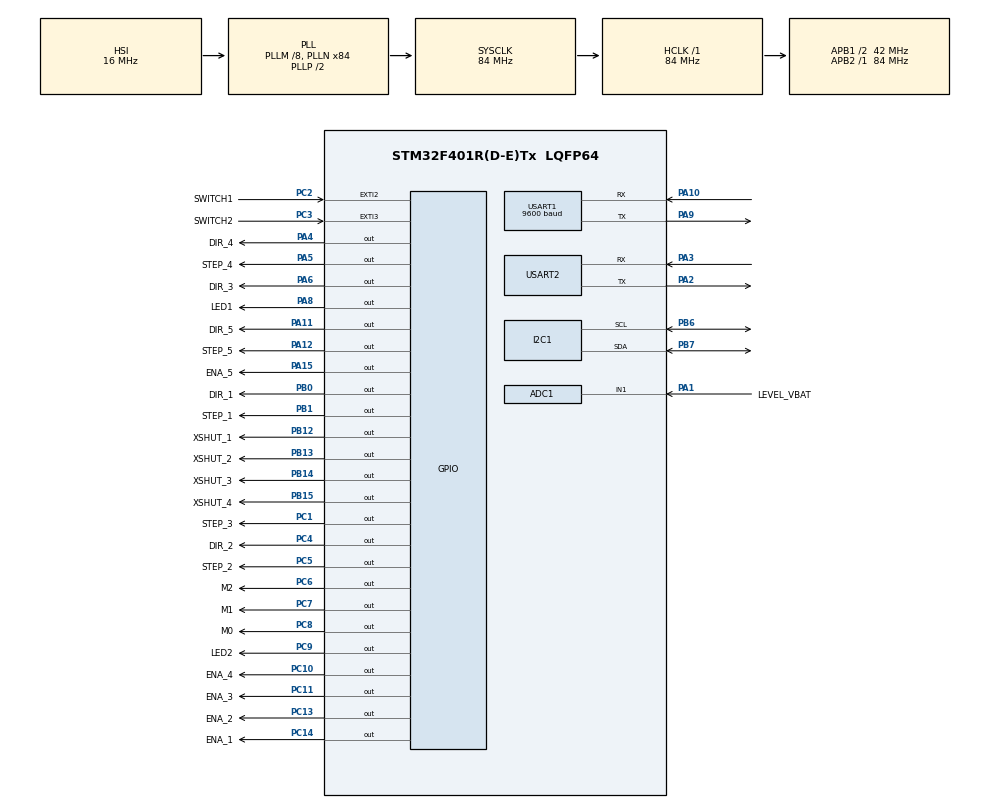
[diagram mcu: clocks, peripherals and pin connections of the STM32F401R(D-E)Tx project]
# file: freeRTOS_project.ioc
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ADC1.Channel-1\#ChannelRegularConversion=ADC_CHANNEL_1
ADC1.NbrOfConversionFlag=1
ADC1.Rank-1\#ChannelRegularConversion=1
ADC1.SamplingTime-1\#ChannelRegularConversion=ADC_SAMPLETIME_3CYCLES
ADC1.master=1
FREERTOS.Mutexes01=timerMutex,Dynamic,NULL
FREERTOS.Tasks01=MotorControl,1,128,MotorMotionControl,Default,NULL,Dynamic,NULL,NULL;TOFcontrol,-3,128,GetTOFDistance,Default,NULL,Dynamic,NULL,NULL;LifterControl,-3,128,LifterMotionControl,Default,NULL,Dynamic,NULL,NULL
FREERTOS.configUSE_NEWLIB_REENTRANT=1
FREERTOS.configUSE_TIMERS=1
Mcu.Family=STM32F4
Mcu.Name=STM32F401R(D-E)Tx
Mcu.Package=LQFP64
NVIC.EXTI2_IRQn=true\:5\:0\:false\:false\:true\:true\:true\:true\:true
NVIC.EXTI3_IRQn=true\:5\:0\:false\:false\:true\:true\:true\:true\:true
NVIC.PriorityGroup=NVIC_PRIORITYGROUP_4
NVIC.USART1_IRQn=true\:5\:0\:false\:false\:true\:true\:true\:true\:true
NVIC.USART2_IRQn=true\:5\:0\:false\:false\:true\:true\:true\:true\:true
PA1.GPIO_Label=LEVEL_VBAT
PA1.Signal=ADCx_IN1
PA10.Mode=Asynchronous
PA10.Signal=USART1_RX
PA11.GPIO_Label=DIR_5
PA11.Signal=GPIO_Output
PA12.GPIO_Label=STEP_5
PA12.Signal=GPIO_Output
PA13.Mode=Serial_Wire
PA13.Signal=SYS_JTMS-SWDIO
PA14.Mode=Serial_Wire
PA14.Signal=SYS_JTCK-SWCLK
PA15.GPIO_Label=ENA_5
PA15.PinState=GPIO_PIN_SET
PA15.Signal=GPIO_Output
PA2.Mode=Asynchronous
PA2.Signal=USART2_TX
PA3.Mode=Asynchronous
PA3.Signal=USART2_RX
PA4.GPIO_Label=DIR_4
PA4.Signal=GPIO_Output
PA5.GPIO_Label=STEP_4
PA5.Signal=GPIO_Output
PA6.GPIO_Label=DIR_3
PA6.Signal=GPIO_Output
PA8.GPIO_Label=LED1
PA8.PinState=GPIO_PIN_SET
PA8.Signal=GPIO_Output
PA9.Mode=Asynchronous
PA9.Signal=USART1_TX
PB0.GPIO_Label=DIR_1
PB0.Signal=GPIO_Output
PB1.GPIO_Label=STEP_1
PB1.Signal=GPIO_Output
PB12.GPIO_Label=XSHUT_1
PB12.GPIO_ModeDefaultOutputPP=GPIO_MODE_OUTPUT_PP
PB12.GPIO_PuPd=GPIO_NOPULL
PB12.PinState=GPIO_PIN_RESET
PB12.Signal=GPIO_Output
PB13.GPIO_Label=XSHUT_2
PB13.GPIO_ModeDefaultOutputPP=GPIO_MODE_OUTPUT_PP
PB13.GPIO_PuPd=GPIO_NOPULL
PB13.PinState=GPIO_PIN_RESET
PB13.Signal=GPIO_Output
PB14.GPIO_Label=XSHUT_3
PB14.GPIO_ModeDefaultOutputPP=GPIO_MODE_OUTPUT_PP
PB14.GPIO_PuPd=GPIO_NOPULL
PB14.PinState=GPIO_PIN_RESET
PB14.Signal=GPIO_Output
PB15.GPIO_Label=XSHUT_4
PB15.GPIO_ModeDefaultOutputPP=GPIO_MODE_OUTPUT_PP
PB15.GPIO_PuPd=GPIO_NOPULL
PB15.PinState=GPIO_PIN_RESET
PB15.Signal=GPIO_Output
PB6.Mode=I2C
PB6.Signal=I2C1_SCL
PB7.Mode=I2C
PB7.Signal=I2C1_SDA
PC1.GPIO_Label=STEP_3
PC1.Signal=GPIO_Output
PC10.GPIO_Label=ENA_4
PC10.PinState=GPIO_PIN_SET
PC10.Signal=GPIO_Output
PC11.GPIO_Label=ENA_3
PC11.PinState=GPIO_PIN_SET
PC11.Signal=GPIO_Output
PC13-ANTI_TAMP.GPIO_Label=ENA_2
PC13-ANTI_TAMP.PinState=GPIO_PIN_SET
PC13-ANTI_TAMP.Signal=GPIO_Output
PC14-OSC32_IN.GPIO_Label=ENA_1
PC14-OSC32_IN.PinState=GPIO_PIN_SET
PC14-OSC32_IN.Signal=GPIO_Output
PC2.GPIO_Label=SWITCH1
PC2.GPIO_ModeDefaultEXTI=GPIO_MODE_IT_RISING_FALLING
PC2.Signal=GPXTI2
PC3.GPIO_Label=SWITCH2
PC3.GPIO_ModeDefaultEXTI=GPIO_MODE_IT_RISING_FALLING
PC3.Signal=GPXTI3
PC4.GPIO_Label=DIR_2
PC4.Signal=GPIO_Output
PC5.GPIO_Label=STEP_2
PC5.Signal=GPIO_Output
PC6.GPIO_Label=M2
PC6.Signal=GPIO_Output
PC7.GPIO_Label=M1
PC7.Signal=GPIO_Output
PC8.GPIO_Label=M0
PC8.Signal=GPIO_Output
PC9.GPIO_Label=LED2
PC9.Signal=GPIO_Output
ProjectManager.HeapSize=0x200
ProjectManager.StackSize=0x400
ProjectManager.TargetToolchain=STM32CubeIDE
RCC.48MHZClocksFreq_Value=42000000
RCC.AHBFreq_Value=84000000
RCC.APB1CLKDivider=RCC_HCLK_DIV2
RCC.APB1Freq_Value=42000000
RCC.APB1TimFreq_Value=84000000
RCC.APB2Freq_Value=84000000
RCC.APB2TimFreq_Value=84000000
RCC.CortexFreq_Value=84000000
RCC.HCLKFreq_Value=84000000
RCC.HSE_VALUE=25000000
RCC.HSI_VALUE=16000000
RCC.LSE_VALUE=32768
RCC.PLLM=8
RCC.PLLN=84
RCC.SYSCLKFreq_VALUE=84000000
RCC.SYSCLKSource=RCC_SYSCLKSOURCE_PLLCLK
RCC.VCOOutputFreq_Value=168000000
SH.ADCx_IN1.0=ADC1_IN1,IN1
USART1.BaudRate=9600
USART1.VirtualMode=VM_ASYNC
USART2.VirtualMode=VM_ASYNC
VP_FREERTOS_VS_CMSIS_V1.Mode=CMSIS_V1
board=custom

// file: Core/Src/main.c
/* USER CODE BEGIN Header */
/**
  ******************************************************************************
  * @file           : main.c
  * @brief          : Main program body
  ******************************************************************************
  * @attention
  *
  * Copyright (c) 2023 STMicroelectronics.
  * All rights reserved.
  *
  * This software is licensed under terms that can be found in the LICENSE file
  * in the root directory of this software component.
  * If no LICENSE file comes with this software, it is provided AS-IS.
  *
  ******************************************************************************
  */
/* USER CODE END Header */
#include "main.h"
#include "cmsis_os.h"

/* USER CODE BEGIN Includes */
#include "timers.h"
#include <stdio.h>
#include <string.h>
#include "timers.h"
#include "tof.h"

/* USER CODE END Includes */

/* USER CODE BEGIN PTD */
typedef enum{
	STOP_STATE = 0,
	//IDLE_STATE,
	MOVING_STATE,
//	LIFTER_STATE,
	PACKET_STATE
}dev_state_t;

typedef enum{
	UP_DIR = 0,
	DOWN_DIR,
	STOP_DIR
}lifter_motor_direction_t;

typedef enum{
	FULL_STEP = 0,
	HALF_STEP,
	MICROSTEPPING_1_4,
	MICROSTEPPING_8,
	MICROSTEPPING_16,
	MICROSTEPPING_32
}microstepping_t;

/* USER CODE END PTD */

/* USER CODE BEGIN PD */
#define IS_VAL_INRANGE(value, max_value, min_value)((value <= max_value) && (value >= min_value))

#define CALC_X_VALUE(x_num)(x_num - 100)
#define CALC_Y_VALUE(y_num)(y_num - 201)
#define CALC_SPEED(speed)(speed-9)

#define CALC_VEL(var,speed)((10*speed)*var*(2./50)*(1000./36000))

#define SET_DEVICE_STATE(state)(dev_state = state)
#define GET_DEVICE_STATE()(dev_state)

#define SET_LIFTER_MOTOR_DIR(dir)(lifter_dir = dir)
#define GET_LIFTER_MOTOR_DIR()(lifter_dir)

#define MIN_XVALUE		50
#define MAX_XVALUE		150
#define MIN_YVALUE		151
#define MAX_YVALUE		251
#define MIN_SPEED	  	10
#define MAX_SPEED	  	19

#define NUM_STEPS	  	1000

#define START_MOVE_RIGHT 	1
#define END_MOVE_RIGHT    	2
#define START_MOVE_LEFT	  	3
#define END_MOVE_LEFT	    4
#define START_UP			5
#define END_UP			    6
#define START_DOWN		    7
#define END_DOWN		    8
#define RELEASE 	        9

#define MAX_BUFFER_l	100

#define PI	3.14159

#define I2C_ADDR_INIT 0x52
#define I2C_ADDR_TOF1 0x40
#define I2C_ADDR_TOF2 0x50
#define I2C_ADDR_TOF3 0x60
#define I2C_ADDR_TOF4 0x70

#define MAX_VBAT		2.7  // after voltage divisor (R1 = 100 Ohms, R2 = 330 Ohms)
#define MIN_VBAT		2.2	// after voltage divisor (R1 = 100 Ohms, R2 = 330 Ohms)

#define TIMER_PERIO_MS	10	// value in ms

#define MIN_DISTANCE_mm	200 // value in mm

#define ACTIVITY_TIMEOUT	5000 //value in seconds

/* USER CODE END PD */

ADC_HandleTypeDef hadc1;

I2C_HandleTypeDef hi2c1;

UART_HandleTypeDef huart1;
UART_HandleTypeDef huart2;

osThreadId MotorControlHandle;
osThreadId TOFcontrolHandle;
osThreadId LifterControlHandle;
osMutexId timerMutexHandle;
/* USER CODE BEGIN PV */

TimerHandle_t timerHandle;

static uint8_t RxByte_uart1;
static uint8_t RxByte_uart2;

static  float speed;			// Speed limit variable from APP

const float length = 0.175;
const float width  = 0.175;

static  float Vx;
static  float Vy;
static  float Vz;

static  int X;
static  int Y;

int X_ant;
int Y_ant;

int  S1;
int  S2;
int  S3;
int  S4;

static  int distance_1;
static  int distance_2;
static  int distance_3;
static  int distance_4;

static  uint32_t counter;

char buffer[MAX_BUFFER_l];

dev_state_t dev_state = STOP_STATE;

static float vbat_value = 0.00;

//static  uint32_t counter_ms = 0;

uint8_t  message[4];
uint8_t pos_message = 0;

lifter_motor_direction_t lifter_dir = STOP_DIR;

uint8_t distance_flag = 0;

uint8_t block_up_flag = 0;
uint8_t first_up_flag = 1;
uint8_t block_down_flag = 0;
uint8_t first_down_flag = 1;

uint8_t block_right = 0;
uint8_t block_left = 0;
uint8_t block_forward = 0;
uint8_t block_backward = 0;

/* USER CODE END PV */

void SystemClock_Config(void);
static void MX_GPIO_Init(void);
static void MX_I2C1_Init(void);
static void MX_USART1_UART_Init(void);
static void MX_USART2_UART_Init(void);
static void MX_ADC1_Init(void);
void MotorMotionControl(void const * argument);
void GetTOFDistance(void const * argument);
void LifterMotionControl(void const * argument);

/* USER CODE BEGIN PFP */

/*Func. prototype for the software timer*/
void vTimerCallback(TimerHandle_t xTimer){
	//Do something
}
int GetAbsValue(int num);

/*Func. prototype for the configuration of vl53l0x sensors*/
HAL_StatusTypeDef configTOF(GPIO_TypeDef* XshutPort, uint16_t XshutPin, uint8_t tofAddr);
static void initSensorsVL53L0X(void);

/* Func. prototype for managment of the ADC*/
static float ReadADClevel(void);

/*Func. prototype for set/reset the ENA driver pins*/
static void enableMovingMotors(void);
static void disableMovingMotors(void);
static void enableLifterMotor(void);
static void disableLifterMotor(void);

/*Function definition for enter state for motor and LEDs managment*/
static void enterStopState(void);
static void enterMovingState(void);
static void enterPacketState(void);

/*Function definition for microstepping for motion motor control*/
static void setMicrostepping(microstepping_t steps);

static void SendReleaseMessage(void);

//int _write(int file, char *ptr, int len)
//{
//	int DataIdx;
//
//	for (DataIdx = 0; DataIdx < len; DataIdx++)
//	{
//		ITM_SendChar(*ptr++);
//	}
//	return len;
//}

/* USER CODE END PFP */

int main(void)
{
  /* USER CODE BEGIN 1 */
	X = 0;
	Y = 0;

	X_ant = 0;
	Y_ant = 0;
	Vx = 0;
	Vy = 0;
	Vz = 0;

	speed = 5;

	S1 = 0;
	S2 = 0;
	S3 = 0;
	S4 = 0;

	counter = 0;

	distance_1 = 0;
	distance_2 = 0;
	distance_3 = 0;
	distance_4 = 0;

  /* USER CODE END 1 */

  /* MCU Configuration--------------------------------------------------------*/

  /* Reset of all peripherals, Initializes the Flash interface and the Systick. */
  HAL_Init();

  /* Configure the system clock */
  SystemClock_Config();

  /* Initialize all configured peripherals */
  MX_GPIO_Init();
  MX_I2C1_Init();
  MX_USART1_UART_Init();
  MX_USART2_UART_Init();
  MX_ADC1_Init();
  /* USER CODE BEGIN 2 */
  /*Init TOF sensors (Change Address, Dist range)*/
   initSensorsVL53L0X(); //  Initialize Time-Of-Flight Sensors

   /*Get voltage value of the VBAT*/
   vbat_value = ReadADClevel();

   /*Set Device State depending of VBAT value*/
   if(IS_VAL_INRANGE(vbat_value, MAX_VBAT, MIN_VBAT)){ //Correct value
 	  enterMovingState();
 	  setMicrostepping(HALF_STEP);
 	  HAL_UART_Receive_IT(&huart1, &RxByte_uart1, 1);
   }else{
	   enterStopState();
   }

  /* USER CODE END 2 */

  /* Create the mutex(es) */
  /* definition and creation of timerMutex */
  osMutexDef(timerMutex);
  timerMutexHandle = osMutexCreate(osMutex(timerMutex));

  /* Create the thread(s) */
  /* definition and creation of MotorControl */
  osThreadDef(MotorControl, MotorMotionControl, osPriorityAboveNormal, 0, 128);
  MotorControlHandle = osThreadCreate(osThread(MotorControl), NULL);

  /* definition and creation of TOFcontrol */
  osThreadDef(TOFcontrol, GetTOFDistance, osPriorityIdle, 0, 128);
  TOFcontrolHandle = osThreadCreate(osThread(TOFcontrol), NULL);

  /* definition and creation of LifterControl */
  osThreadDef(LifterControl, LifterMotionControl, osPriorityIdle, 0, 128);
  LifterControlHandle = osThreadCreate(osThread(LifterControl), NULL);

  /* Start scheduler */
  osKernelStart();

  /* We should never get here as control is now taken by the scheduler */
  /* Infinite loop */
  while (1)
  {

  }
}

void SystemClock_Config(void)
{
  RCC_OscInitTypeDef RCC_OscInitStruct = {0};
  RCC_ClkInitTypeDef RCC_ClkInitStruct = {0};

  /** Configure the main internal regulator output voltage
  */
  __HAL_RCC_PWR_CLK_ENABLE();
  __HAL_PWR_VOLTAGESCALING_CONFIG(PWR_REGULATOR_VOLTAGE_SCALE2);

  /** Initializes the RCC Oscillators according to the specified parameters
  * in the RCC_OscInitTypeDef structure.
  */
  RCC_OscInitStruct.OscillatorType = RCC_OSCILLATORTYPE_HSI;
  RCC_OscInitStruct.HSIState = RCC_HSI_ON;
  RCC_OscInitStruct.HSICalibrationValue = RCC_HSICALIBRATION_DEFAULT;
  RCC_OscInitStruct.PLL.PLLState = RCC_PLL_ON;
  RCC_OscInitStruct.PLL.PLLSource = RCC_PLLSOURCE_HSI;
  RCC_OscInitStruct.PLL.PLLM = 8;
  RCC_OscInitStruct.PLL.PLLN = 84;
  RCC_OscInitStruct.PLL.PLLP = RCC_PLLP_DIV2;
  RCC_OscInitStruct.PLL.PLLQ = 4;
  if (HAL_RCC_OscConfig(&RCC_OscInitStruct) != HAL_OK)
  {
    Error_Handler();
  }

  /** Initializes the CPU, AHB and APB buses clocks
  */
  RCC_ClkInitStruct.ClockType = RCC_CLOCKTYPE_HCLK|RCC_CLOCKTYPE_SYSCLK
                              |RCC_CLOCKTYPE_PCLK1|RCC_CLOCKTYPE_PCLK2;
  RCC_ClkInitStruct.SYSCLKSource = RCC_SYSCLKSOURCE_PLLCLK;
  RCC_ClkInitStruct.AHBCLKDivider = RCC_SYSCLK_DIV1;
  RCC_ClkInitStruct.APB1CLKDivider = RCC_HCLK_DIV2;
  RCC_ClkInitStruct.APB2CLKDivider = RCC_HCLK_DIV1;

  if (HAL_RCC_ClockConfig(&RCC_ClkInitStruct, FLASH_LATENCY_2) != HAL_OK)
  {
    Error_Handler();
  }
}

static void MX_ADC1_Init(void)
{

  ADC_ChannelConfTypeDef sConfig = {0};

  /** Configure the global features of the ADC (Clock, Resolution, Data Alignment and number of conversion)
  */
  hadc1.Instance = ADC1;
  hadc1.Init.ClockPrescaler = ADC_CLOCK_SYNC_PCLK_DIV4;
  hadc1.Init.Resolution = ADC_RESOLUTION_12B;
  hadc1.Init.ScanConvMode = DISABLE;
  hadc1.Init.ContinuousConvMode = DISABLE;
  hadc1.Init.DiscontinuousConvMode = DISABLE;
  hadc1.Init.ExternalTrigConvEdge = ADC_EXTERNALTRIGCONVEDGE_NONE;
  hadc1.Init.ExternalTrigConv = ADC_SOFTWARE_START;
  hadc1.Init.DataAlign = ADC_DATAALIGN_RIGHT;
  hadc1.Init.NbrOfConversion = 1;
  hadc1.Init.DMAContinuousRequests = DISABLE;
  hadc1.Init.EOCSelection = ADC_EOC_SINGLE_CONV;
  if (HAL_ADC_Init(&hadc1) != HAL_OK)
  {
    Error_Handler();
  }

  /** Configure for the selected ADC regular channel its corresponding rank in the sequencer and its sample time.
  */
  sConfig.Channel = ADC_CHANNEL_1;
  sConfig.Rank = 1;
  sConfig.SamplingTime = ADC_SAMPLETIME_3CYCLES;
  if (HAL_ADC_ConfigChannel(&hadc1, &sConfig) != HAL_OK)
  {
    Error_Handler();
  }

}

static void MX_I2C1_Init(void)
{

  hi2c1.Instance = I2C1;
  hi2c1.Init.ClockSpeed = 100000;
  hi2c1.Init.DutyCycle = I2C_DUTYCYCLE_2;
  hi2c1.Init.OwnAddress1 = 0;
  hi2c1.Init.AddressingMode = I2C_ADDRESSINGMODE_7BIT;
  hi2c1.Init.DualAddressMode = I2C_DUALADDRESS_DISABLE;
  hi2c1.Init.OwnAddress2 = 0;
  hi2c1.Init.GeneralCallMode = I2C_GENERALCALL_DISABLE;
  hi2c1.Init.NoStretchMode = I2C_NOSTRETCH_DISABLE;
  if (HAL_I2C_Init(&hi2c1) != HAL_OK)
  {
    Error_Handler();
  }

}

static void MX_USART1_UART_Init(void)
{

  huart1.Instance = USART1;
  huart1.Init.BaudRate = 9600;
  huart1.Init.WordLength = UART_WORDLENGTH_8B;
  huart1.Init.StopBits = UART_STOPBITS_1;
  huart1.Init.Parity = UART_PARITY_NONE;
  huart1.Init.Mode = UART_MODE_TX_RX;
  huart1.Init.HwFlowCtl = UART_HWCONTROL_NONE;
  huart1.Init.OverSampling = UART_OVERSAMPLING_16;
  if (HAL_UART_Init(&huart1) != HAL_OK)
  {
    Error_Handler();
  }

}

static void MX_USART2_UART_Init(void)
{

  huart2.Instance = USART2;
  huart2.Init.BaudRate = 115200;
  huart2.Init.WordLength = UART_WORDLENGTH_8B;
  huart2.Init.StopBits = UART_STOPBITS_1;
  huart2.Init.Parity = UART_PARITY_NONE;
  huart2.Init.Mode = UART_MODE_TX_RX;
  huart2.Init.HwFlowCtl = UART_HWCONTROL_NONE;
  huart2.Init.OverSampling = UART_OVERSAMPLING_16;
  if (HAL_UART_Init(&huart2) != HAL_OK)
  {
    Error_Handler();
  }

}

static void MX_GPIO_Init(void)
{
  GPIO_InitTypeDef GPIO_InitStruct = {0};

  /* GPIO Ports Clock Enable */
  __HAL_RCC_GPIOC_CLK_ENABLE();
  __HAL_RCC_GPIOA_CLK_ENABLE();
  __HAL_RCC_GPIOB_CLK_ENABLE();

  /*Configure GPIO pin Output Level */
  HAL_GPIO_WritePin(GPIOC, ENA_2_Pin|ENA_1_Pin|ENA_4_Pin|ENA_3_Pin, GPIO_PIN_SET);

  /*Configure GPIO pin Output Level */
  HAL_GPIO_WritePin(GPIOC, STEP_3_Pin|DIR_2_Pin|STEP_2_Pin|M2_Pin
                          |M1_Pin|M0_Pin|LED2_Pin, GPIO_PIN_RESET);

  /*Configure GPIO pin Output Level */
  HAL_GPIO_WritePin(GPIOA, DIR_4_Pin|STEP_4_Pin|DIR_3_Pin|DIR_5_Pin
                          |STEP_5_Pin, GPIO_PIN_RESET);

  /*Configure GPIO pin Output Level */
  HAL_GPIO_WritePin(GPIOB, DIR_1_Pin|STEP_1_Pin|XSHUT_1_Pin|XSHUT_2_Pin
                          |XSHUT_3_Pin|XSHUT_4_Pin, GPIO_PIN_RESET);

  /*Configure GPIO pin Output Level */
  HAL_GPIO_WritePin(GPIOA, LED1_Pin|ENA_5_Pin, GPIO_PIN_SET);

  /*Configure GPIO pins : ENA_2_Pin ENA_1_Pin STEP_3_Pin DIR_2_Pin
                           STEP_2_Pin M2_Pin M1_Pin M0_Pin
                           LED2_Pin ENA_4_Pin ENA_3_Pin */
  GPIO_InitStruct.Pin = ENA_2_Pin|ENA_1_Pin|STEP_3_Pin|DIR_2_Pin
                          |STEP_2_Pin|M2_Pin|M1_Pin|M0_Pin
                          |LED2_Pin|ENA_4_Pin|ENA_3_Pin;
  GPIO_InitStruct.Mode = GPIO_MODE_OUTPUT_PP;
  GPIO_InitStruct.Pull = GPIO_NOPULL;
  GPIO_InitStruct.Speed = GPIO_SPEED_FREQ_LOW;
  HAL_GPIO_Init(GPIOC, &GPIO_InitStruct);

  /*Configure GPIO pins : SWITCH1_Pin SWITCH2_Pin */
  GPIO_InitStruct.Pin = SWITCH1_Pin|SWITCH2_Pin;
  GPIO_InitStruct.Mode = GPIO_MODE_IT_RISING_FALLING;
  GPIO_InitStruct.Pull = GPIO_NOPULL;
  HAL_GPIO_Init(GPIOC, &GPIO_InitStruct);

  /*Configure GPIO pins : DIR_4_Pin STEP_4_Pin DIR_3_Pin LED1_Pin
                           DIR_5_Pin STEP_5_Pin ENA_5_Pin */
  GPIO_InitStruct.Pin = DIR_4_Pin|STEP_4_Pin|DIR_3_Pin|LED1_Pin
                          |DIR_5_Pin|STEP_5_Pin|ENA_5_Pin;
  GPIO_InitStruct.Mode = GPIO_MODE_OUTPUT_PP;
  GPIO_InitStruct.Pull = GPIO_NOPULL;
  GPIO_InitStruct.Speed = GPIO_SPEED_FREQ_LOW;
  HAL_GPIO_Init(GPIOA, &GPIO_InitStruct);

  /*Configure GPIO pins : DIR_1_Pin STEP_1_Pin XSHUT_1_Pin XSHUT_2_Pin
                           XSHUT_3_Pin XSHUT_4_Pin */
  GPIO_InitStruct.Pin = DIR_1_Pin|STEP_1_Pin|XSHUT_1_Pin|XSHUT_2_Pin
                          |XSHUT_3_Pin|XSHUT_4_Pin;
  GPIO_InitStruct.Mode = GPIO_MODE_OUTPUT_PP;
  GPIO_InitStruct.Pull = GPIO_NOPULL;
  GPIO_InitStruct.Speed = GPIO_SPEED_FREQ_LOW;
  HAL_GPIO_Init(GPIOB, &GPIO_InitStruct);

  /* EXTI interrupt init*/
  HAL_NVIC_SetPriority(EXTI2_IRQn, 5, 0);
  HAL_NVIC_EnableIRQ(EXTI2_IRQn);

  HAL_NVIC_SetPriority(EXTI3_IRQn, 5, 0);
  HAL_NVIC_EnableIRQ(EXTI3_IRQn);

}

/* USER CODE BEGIN 4 */
void HAL_UART_RxCpltCallback(UART_HandleTypeDef *huart){

	if(huart->Instance == USART1){
		if(GET_DEVICE_STATE() == MOVING_STATE){

			if(RxByte_uart1 == START_MOVE_RIGHT){
				Vz = 0.1;

			}else if(RxByte_uart1 == START_MOVE_LEFT){
				Vz = -0.1;

			}else if((RxByte_uart1 == END_MOVE_RIGHT) || (RxByte_uart1 == END_MOVE_LEFT)){
				Vz = 0;

			}else if(IS_VAL_INRANGE(RxByte_uart1, MAX_XVALUE, MIN_XVALUE)){
				Y = CALC_X_VALUE(RxByte_uart1); //x, y inverted
				if(Y > 0){
					if(block_left){
//						Y_ant = Y;
						Y = 0;
						HAL_GPIO_WritePin(LED1_GPIO_Port, LED1_Pin, GPIO_PIN_SET);
					}else{
//						Y = Y_ant;
						HAL_GPIO_WritePin(LED1_GPIO_Port, LED1_Pin, GPIO_PIN_RESET);
					}
				}else if(Y < 0){
					if(block_right){
//						Y_ant = Y;
						Y = 0;
						HAL_GPIO_WritePin(LED1_GPIO_Port, LED1_Pin, GPIO_PIN_SET);
					}else{
//						Y = Y_ant;
						HAL_GPIO_WritePin(LED1_GPIO_Port, LED1_Pin, GPIO_PIN_RESET);
					}
				}

			}else if(IS_VAL_INRANGE(RxByte_uart1, MAX_YVALUE, MIN_YVALUE)){
				X = CALC_Y_VALUE(RxByte_uart1);
				if(X > 0){
					if(block_forward){
//						X_ant = X;
						X = 0;
						HAL_GPIO_WritePin(LED1_GPIO_Port, LED1_Pin, GPIO_PIN_SET);
					}else{
//						X = X_ant;
						HAL_GPIO_WritePin(LED1_GPIO_Port, LED1_Pin, GPIO_PIN_RESET);
					}
				}else if(X < 0){
					if(block_backward){
//						X_ant = X;
						X = 0;
						HAL_GPIO_WritePin(LED1_GPIO_Port, LED1_Pin, GPIO_PIN_SET);
					}else{
//						X = X_ant;
						HAL_GPIO_WritePin(LED1_GPIO_Port, LED1_Pin, GPIO_PIN_RESET);
					}
				}

			}else if(IS_VAL_INRANGE(RxByte_uart1, MAX_SPEED, MIN_SPEED)){
				speed = CALC_SPEED(RxByte_uart1);

			}else if(RxByte_uart1 == START_UP){
				if(first_up_flag){
					enableLifterMotor();
					first_up_flag = 0;
				}
				if(!block_up_flag){
					SET_LIFTER_MOTOR_DIR(UP_DIR);
				}

			}else if(RxByte_uart1 == START_DOWN){
				if(first_down_flag){
					enableLifterMotor();
					first_down_flag = 0;
				}
				if(!block_down_flag){
					SET_LIFTER_MOTOR_DIR(DOWN_DIR);
				}

			}else if((RxByte_uart1 == END_UP) || (RxByte_uart1 == END_DOWN)){
				disableLifterMotor();
				first_down_flag = first_up_flag = 1;
				SET_LIFTER_MOTOR_DIR(STOP_DIR);

			}else if(RxByte_uart1 == RELEASE){
				enterPacketState();
			}
			else{
				X = 0;
				Y = 0;
				speed = 0;
			}
		}else{
			X = Y = 0;
			Vx = Vy = Vz = 0.00;
			speed = 0;
		}
		HAL_UART_Receive_IT(huart, &RxByte_uart1, 1);
	}

	if(huart->Instance == USART2){
		if(GET_DEVICE_STATE() == PACKET_STATE){
			if(RxByte_uart2 == 'F'){
				enterMovingState();
			}
		}

	}

}

void HAL_GPIO_EXTI_Callback(uint16_t GPIO_Pin){
	if(GPIO_Pin == SWITCH1_Pin){
		if(HAL_GPIO_ReadPin(SWITCH1_GPIO_Port, SWITCH1_Pin) == GPIO_PIN_SET){ //Rising edge
			SET_LIFTER_MOTOR_DIR(STOP_DIR);
			block_up_flag = 1;
		}else{  //Falling edge
			block_up_flag = 0;
		}

	}else if(GPIO_Pin == SWITCH2_Pin){
		if(HAL_GPIO_ReadPin(SWITCH2_GPIO_Port, SWITCH2_Pin)){  //Rising edge
			SET_LIFTER_MOTOR_DIR(STOP_DIR);
			block_down_flag = 1;
		}else{  //Falling edge
			block_down_flag = 0;
		}

	}

}

int GetAbsValue(int num){
	if(num < 0){
		num = -num;
	}
	return num;
}

HAL_StatusTypeDef configTOF(GPIO_TypeDef* XshutPort, uint16_t XshutPin, uint8_t tofAddr)
{
  HAL_StatusTypeDef Status = HAL_OK;

  HAL_GPIO_WritePin(XshutPort, XshutPin, GPIO_PIN_SET);
//  Status = HAL_I2C_IsDeviceReady(&hi2c1, I2C_ADDR_INIT, 1, HAL_MAX_DELAY);
////  if(Status != HAL_OK){
////    return Status;
////  }

  SetDevAddr(tofAddr, I2C_ADDR_INIT);

  Status = HAL_I2C_IsDeviceReady(&hi2c1, tofAddr, 1, 1000);
  if(Status != HAL_OK){
  	  return Status;
  }

  if(!tofInit(2,tofAddr)){
	  return HAL_ERROR;
  }

  HAL_Delay(500);
  return Status;
}

static void initSensorsVL53L0X(void){
	  HAL_GPIO_WritePin(GPIOB, XSHUT_1_Pin|XSHUT_2_Pin|XSHUT_3_Pin|XSHUT_4_Pin, GPIO_PIN_RESET);

	  configTOF(XSHUT_1_GPIO_Port, XSHUT_1_Pin, I2C_ADDR_TOF1);
	  configTOF(XSHUT_2_GPIO_Port, XSHUT_2_Pin, I2C_ADDR_TOF2);
	  configTOF(XSHUT_3_GPIO_Port, XSHUT_3_Pin, I2C_ADDR_TOF3);
	  configTOF(XSHUT_4_GPIO_Port, XSHUT_4_Pin, I2C_ADDR_TOF4);
}

static float ReadADClevel(void){

	uint32_t adc_value = 0;

	HAL_ADC_Start(&hadc1);
	HAL_ADC_PollForConversion(&hadc1, HAL_MAX_DELAY);
	adc_value = HAL_ADC_GetValue(&hadc1);
	HAL_ADC_Stop(&hadc1);

	return (adc_value * 3.3f) / 4096.0f;

}

//void CountTimer_ms(TimerHandle_t xTimer){
//	osMutexWait(timer_mutexHandle, osWaitForever);
//	counter_ms++;
//	osMutexRelease(timer_mutexHandle);
//}
//
//static uint32_t GetTimer_ms(void){
//	osMutexWait(timer_mutexHandle, osWaitForever);
//	uint32_t timer_value = counter_ms;
//	osMutexRelease(timer_mutexHandle);
//	return timer_value;
//
//}

static void enableMovingMotors(void){
	HAL_GPIO_WritePin(ENA_1_GPIO_Port, ENA_1_Pin, GPIO_PIN_RESET);
	HAL_GPIO_WritePin(ENA_2_GPIO_Port, ENA_2_Pin, GPIO_PIN_RESET);
	HAL_GPIO_WritePin(ENA_3_GPIO_Port, ENA_3_Pin, GPIO_PIN_RESET);
	HAL_GPIO_WritePin(ENA_4_GPIO_Port, ENA_4_Pin, GPIO_PIN_RESET);
}

static void disableMovingMotors(void){
	HAL_GPIO_WritePin(ENA_1_GPIO_Port, ENA_1_Pin, GPIO_PIN_SET);
	HAL_GPIO_WritePin(ENA_2_GPIO_Port, ENA_2_Pin, GPIO_PIN_SET);
	HAL_GPIO_WritePin(ENA_3_GPIO_Port, ENA_3_Pin, GPIO_PIN_SET);
	HAL_GPIO_WritePin(ENA_4_GPIO_Port, ENA_4_Pin, GPIO_PIN_SET);
}

static void enableLifterMotor(void){
	HAL_GPIO_WritePin(ENA_5_GPIO_Port, ENA_5_Pin, GPIO_PIN_RESET);
}

static void disableLifterMotor(void){
	HAL_GPIO_WritePin(ENA_5_GPIO_Port, ENA_5_Pin, GPIO_PIN_SET);

}
static void enterStopState(void){
	SET_DEVICE_STATE(STOP_STATE);
	disableMovingMotors();
	disableLifterMotor();
	HAL_GPIO_WritePin(LED1_GPIO_Port, LED1_Pin, GPIO_PIN_SET);
	HAL_GPIO_WritePin(LED2_GPIO_Port, LED2_Pin, GPIO_PIN_RESET);
}

static void enterMovingState(void){
	SET_DEVICE_STATE(MOVING_STATE);
	enableMovingMotors();
	HAL_GPIO_WritePin(LED1_GPIO_Port, LED1_Pin, GPIO_PIN_RESET);
	HAL_GPIO_WritePin(LED2_GPIO_Port, LED2_Pin, GPIO_PIN_SET);
}

static void enterPacketState(void){

	SET_DEVICE_STATE(PACKET_STATE);
	disableMovingMotors();
	disableLifterMotor();
	HAL_GPIO_WritePin(LED1_GPIO_Port, LED1_Pin, GPIO_PIN_RESET);
	HAL_GPIO_WritePin(LED2_GPIO_Port, LED2_Pin, GPIO_PIN_RESET);
	SendReleaseMessage();

}

static void setMicrostepping(microstepping_t steps){

	//Reset microstepping value : FULL_STEP (all MX_pins initialized in reset state)
	switch (steps) {
		case HALF_STEP:
			HAL_GPIO_WritePin(M0_GPIO_Port, M0_Pin, GPIO_PIN_SET);
			break;
		case MICROSTEPPING_1_4:
			HAL_GPIO_WritePin(M1_GPIO_Port, M1_Pin, GPIO_PIN_SET);
			break;
		case MICROSTEPPING_8:
			HAL_GPIO_WritePin(M1_GPIO_Port, M1_Pin, GPIO_PIN_SET);
			HAL_GPIO_WritePin(M0_GPIO_Port, M0_Pin, GPIO_PIN_SET);
			break;
		case MICROSTEPPING_16:
			HAL_GPIO_WritePin(M2_GPIO_Port, M2_Pin, GPIO_PIN_SET);
			break;
		case MICROSTEPPING_32:
			HAL_GPIO_WritePin(M2_GPIO_Port, M2_Pin, GPIO_PIN_SET);
			HAL_GPIO_WritePin(M0_GPIO_Port, M0_Pin, GPIO_PIN_SET);
			break;
		default:
			break;
	}
}

static void SendReleaseMessage(void){
	uint8_t mssg = 'R';
	HAL_UART_Transmit(&huart2, &mssg, sizeof(mssg), HAL_MAX_DELAY);
	HAL_UART_Receive_IT(&huart2, &RxByte_uart2, 1);
}

/* USER CODE END 4 */

void MotorMotionControl(void const * argument)
{
  /* USER CODE BEGIN 5 */
  /* Infinite loop */
  for(;;)
  {
	  if(GET_DEVICE_STATE() == MOVING_STATE){

		  Vx = CALC_VEL(X,speed);
		  Vy = CALC_VEL(Y,speed);

		  S1 += ((1/0.030) * ((-length-width)*((10*speed)*Vz) + (Vx) - (Vy)) * (200./(12*PI)));
		  S2 += ((1/0.030) * ((+length+width)*((10*speed)*Vz) + (Vx) + (Vy)) * (200./(12*PI)));
		  S3 += ((1/0.030) * ((+length+width)*((10*speed)*Vz) + (Vx) - (Vy)) * (200./(12*PI)));
		  S4 += ((1/0.030) * ((-length-width)*((10*speed)*Vz) + (Vx) + (Vy)) * (200./(12*PI)));

		  if(GetAbsValue(S1) >= NUM_STEPS){
			HAL_GPIO_WritePin(STEP_1_GPIO_Port, STEP_1_Pin, GPIO_PIN_SET);
			if(S1 < 0){
			  HAL_GPIO_WritePin(DIR_1_GPIO_Port, DIR_1_Pin, GPIO_PIN_RESET);
			  S1 += NUM_STEPS;
		  }else{
			  HAL_GPIO_WritePin(DIR_1_GPIO_Port, DIR_1_Pin, GPIO_PIN_SET);
			  S1 -=  NUM_STEPS;
		  }
		  }
		  if(GetAbsValue(S2) >= NUM_STEPS){
			HAL_GPIO_WritePin(STEP_2_GPIO_Port, STEP_2_Pin, GPIO_PIN_SET);
			if(S2 < 0){
			  HAL_GPIO_WritePin(DIR_2_GPIO_Port, DIR_2_Pin, GPIO_PIN_SET);
			  S2 += NUM_STEPS;
		  }else{
			  HAL_GPIO_WritePin(DIR_2_GPIO_Port, DIR_2_Pin, GPIO_PIN_RESET);
			  S2 -=  NUM_STEPS;
		  }
		  }
		  if(GetAbsValue(S3) >= NUM_STEPS){
			HAL_GPIO_WritePin(STEP_3_GPIO_Port, STEP_3_Pin, GPIO_PIN_SET);
			if(S3 < 0){
			  HAL_GPIO_WritePin(DIR_3_GPIO_Port, DIR_3_Pin, GPIO_PIN_SET);
			  S3 += NUM_STEPS;
		  }else{
			  HAL_GPIO_WritePin(DIR_3_GPIO_Port, DIR_3_Pin, GPIO_PIN_RESET);
			  S3 -=  NUM_STEPS;
		  }
		  }
		  if(GetAbsValue(S4) >= NUM_STEPS){
			HAL_GPIO_WritePin(STEP_4_GPIO_Port, STEP_4_Pin, GPIO_PIN_SET);
			if(S4 < 0){
			  HAL_GPIO_WritePin(DIR_4_GPIO_Port, DIR_4_Pin, GPIO_PIN_RESET);
			  S4 += NUM_STEPS;
			}else{
			  HAL_GPIO_WritePin(DIR_4_GPIO_Port, DIR_4_Pin, GPIO_PIN_SET);
			  S4 -=  NUM_STEPS;
			}
		  }

		  HAL_GPIO_WritePin(STEP_1_GPIO_Port, STEP_1_Pin, GPIO_PIN_RESET);
		  HAL_GPIO_WritePin(STEP_2_GPIO_Port, STEP_2_Pin, GPIO_PIN_RESET);
		  HAL_GPIO_WritePin(STEP_3_GPIO_Port, STEP_3_Pin, GPIO_PIN_RESET);
		  HAL_GPIO_WritePin(STEP_4_GPIO_Port, STEP_4_Pin, GPIO_PIN_RESET);
	  }
	  osDelay(1);

  }
  /* USER CODE END 5 */
}

void GetTOFDistance(void const * argument)
{
  /* USER CODE BEGIN GetTOFDistance */
  /* Infinite loop */
  for(;;)
  {
	  if(GET_DEVICE_STATE() == MOVING_STATE){
		  distance_1 = tofReadDistance(I2C_ADDR_TOF1);
		  distance_2 = tofReadDistance(I2C_ADDR_TOF2);
		  distance_3 = tofReadDistance(I2C_ADDR_TOF3);
		  distance_4 = tofReadDistance(I2C_ADDR_TOF4);

		  block_left = (distance_1 < MIN_DISTANCE_mm) ? 1 : 0;
		  block_right = (distance_2 < MIN_DISTANCE_mm) ? 1 : 0;
		  block_backward = (distance_3 < MIN_DISTANCE_mm) ? 1 : 0;
		  block_forward = (distance_4 < MIN_DISTANCE_mm) ? 1 : 0;

	  }
	  osDelay(250);
  }
  /* USER CODE END GetTOFDistance */
}

void LifterMotionControl(void const * argument)
{
  /* USER CODE BEGIN LifterMotionControl */
  /* Infinite loop */
  for(;;)
  {
	  if(GET_DEVICE_STATE() == MOVING_STATE){
		  if(GET_LIFTER_MOTOR_DIR() != STOP_DIR){
			  HAL_GPIO_WritePin(DIR_5_GPIO_Port, DIR_5_Pin, GET_LIFTER_MOTOR_DIR());
			  HAL_GPIO_TogglePin(STEP_5_GPIO_Port, STEP_5_Pin);
		  }
	  }
	  osDelay(1);
  }
  /* USER CODE END LifterMotionControl */
}

void Error_Handler(void)
{
  __disable_irq();
  while (1)
  {
  }
}
